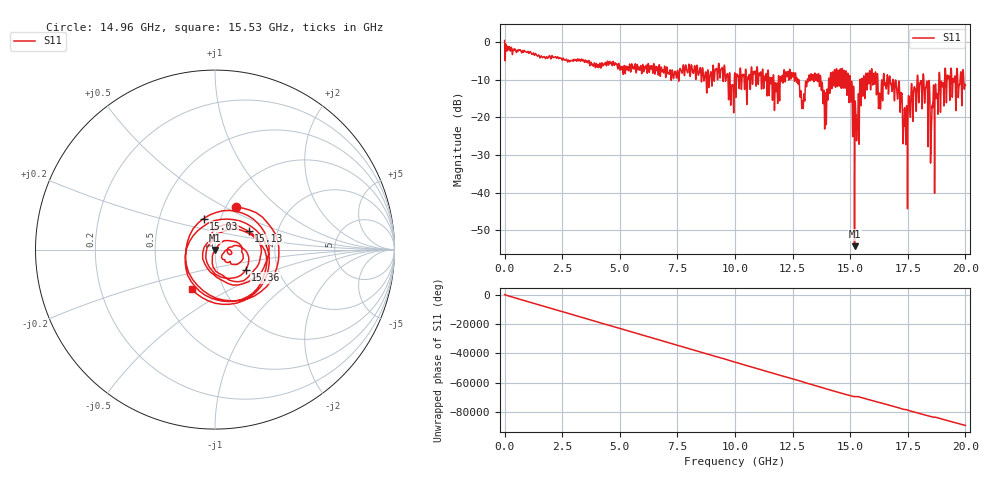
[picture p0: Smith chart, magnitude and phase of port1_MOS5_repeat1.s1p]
! MS46122B
! 2250307/22442219
! 7/24/2025 7:46:04 AM
! C:\USERS\SPARKY\DOCUMENTS\VNA_DATA\JULY24_2025\3K\PORT1_MOS5_REPEAT1.S1P
! CHANNEL.1
! TR.MEASUREMENT
! RAW.DATA
# GHZ S RI R 50.0
! FREQ.GHZ  S11RE  S11IM
!; PortSelection: Port_1
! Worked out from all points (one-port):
!   10001 points, 1 MHz to 20 GHz, reference 50 ohm
!   lowest |S11| = -54.2 dB at 15.19 GHz (marker M1), VSWR 1.00, Z = 50.1 - j0.188 ohm
!   |S11| at or under -10 dB: 15 GHz to 15.43 GHz (428.1 MHz wide, 2.81 % of centre); 16.86 GHz to 17.91 GHz (1.045 GHz wide, 6.01 % of centre); 18.2 GHz to 18.85 GHz (650.5 MHz wide, 3.51 % of centre) (the widest 3 of 83)
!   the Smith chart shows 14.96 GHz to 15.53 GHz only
!   S11 on the Smith chart (normalised r, x): 14.96 GHz: 1.11, +0.57; 15.03 GHz: 0.83, +0.30; 15.13 GHz: 1.42, +0.31; 15.36 GHz: 1.37, -0.32; 15.53 GHz: 0.70, -0.33
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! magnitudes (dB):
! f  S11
! 1 MHz  0.4
! 2.501 GHz  -4.9
! 5.001 GHz  -7.5
! 7.501 GHz  -7.6
! 9.365 GHz  -8.6
! 10 GHz  -8.3
! 12.5 GHz  -9.3
! 12.93 GHz  -15.8
! 13.3 GHz  -8.4
! 13.7 GHz  -9.1
! 13.9 GHz  -19.3
! 14.24 GHz  -7.9
! 14.96 GHz  -11.5
! 15 GHz  -10.0
! 15.03 GHz  -14.7
! 15.13 GHz  -13.4
! 15.19 GHz  -54.2
! 15.36 GHz  -13.8
! 15.53 GHz  -11.8
! 16.79 GHz  -11.5
! 17.39 GHz  -19.7
! 17.5 GHz  -23.0
! 17.99 GHz  -13.8
! 18.25 GHz  -13.4
! 18.57 GHz  -17.1
! 18.79 GHz  -14.1
! 19.19 GHz  -12.0
! 20 GHz  -11.5
